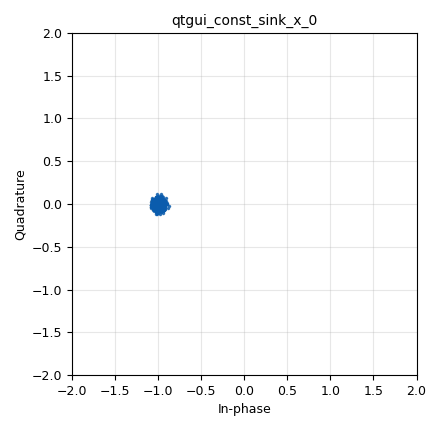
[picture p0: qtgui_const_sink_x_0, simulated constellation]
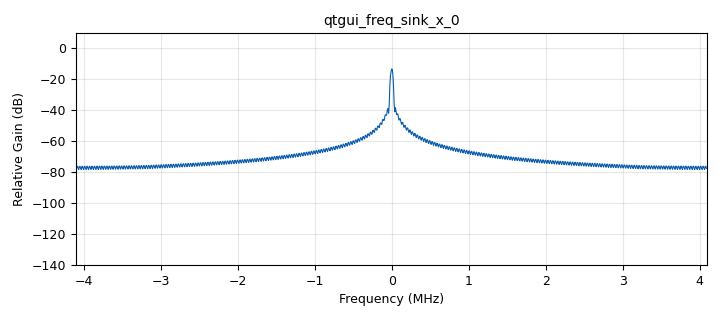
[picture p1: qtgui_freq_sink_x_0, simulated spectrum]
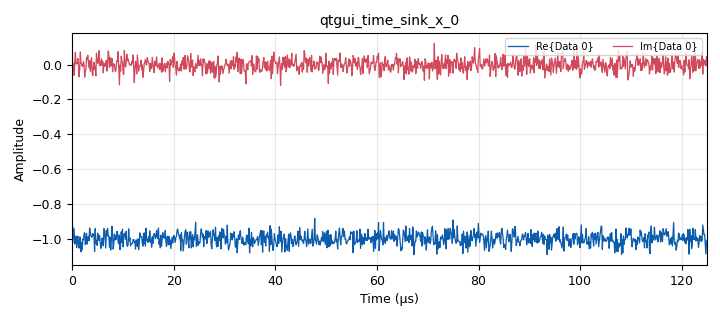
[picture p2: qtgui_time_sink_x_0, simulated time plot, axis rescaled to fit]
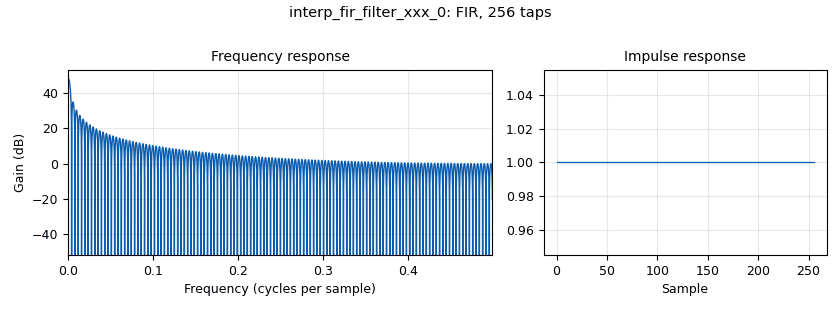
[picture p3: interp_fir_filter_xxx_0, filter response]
options:
  parameters:
    author: radiogis_director
    generate_options: qt_gui
    id: top_block
    output_language: python
    title: top_block
  states: {}

blocks:
- name: M
  id: variable
  parameters:
    value: len(tabla_de_verdad_constelacion )
  states: {}
- name: Rb
  id: variable
  parameters:
    value: Rs*bps
  states: {}
- name: Rs
  id: variable
  parameters:
    value: '32000'
  states: {}
- name: Sps
  id: variable
  parameters:
    value: '256'
  states: {}
- name: bps
  id: variable
  parameters:
    value: int(math.log(M,2))
  states: {}
- name: fc
  id: variable
  parameters:
    value: Rs*4
  states: {}
- name: h
  id: variable
  parameters:
    value: '[1]*Sps'
  states: {}
- name: samp_rate
  id: variable
  parameters:
    value: Rs*Sps
  states: {}
- name: tabla_de_verdad_constelacion
  id: variable
  parameters:
    value: (0.707+0.707j, -0.707+0.707j, -0.707-0.707j, 0.707-0.707j,1+0j,0-1j,-0+1j,-1-0j)
  states: {}
- name: analog_noise_source_x_0
  id: analog_noise_source_x
  parameters:
    amp: '0.05'
    noise_type: analog.GR_GAUSSIAN
    seed: '0'
    type: complex
  states: {}
- name: analog_random_source_x_0
  id: analog_random_source_x
  parameters:
    max: '2'
    min: '0'
    num_samps: '1000'
    repeat: 'True'
    type: byte
  states: {}
- name: analog_sig_source_x_0
  id: analog_sig_source_x
  parameters:
    amp: '1'
    freq: fc
    offset: '0'
    phase: '0'
    samp_rate: samp_rate
    type: complex
    waveform: analog.GR_COS_WAVE
  states: {state: disabled}
- name: analog_sig_source_x_1
  id: analog_sig_source_x
  parameters:
    amp: '1'
    freq: fc
    offset: '0'
    phase: '0'
    samp_rate: samp_rate
    type: complex
    waveform: analog.GR_SIN_WAVE
  states: {state: disabled}
- name: blocks_add_xx_0
  id: blocks_add_xx
  parameters:
    type: complex
  states: {}
- name: blocks_add_xx_1
  id: blocks_add_xx
  parameters:
    type: complex
  states: {state: disabled}
- name: blocks_multiply_xx_0
  id: blocks_multiply_xx
  parameters:
    type: complex
  states: {state: disabled}
- name: blocks_multiply_xx_1
  id: blocks_multiply_xx
  parameters:
    type: complex
  states: {state: disabled}
- name: blocks_pack_k_bits_bb_0
  id: blocks_pack_k_bits_bb
  parameters:
    k: '8'
  states: {}
- name: blocks_packed_to_unpacked_xx_0
  id: blocks_packed_to_unpacked_xx
  parameters:
    bits_per_chunk: bps
    endianness: gr.GR_MSB_FIRST
    type: byte
  states: {}
- name: digital_chunks_to_symbols_xx_0
  id: digital_chunks_to_symbols_xx
  parameters:
    dimension: '1'
    in_type: byte
    out_type: complex
    symbol_table: tabla_de_verdad_constelacion
  states: {}
- name: import_0
  id: import
  parameters:
    imports: import math
  states: {}
- name: interp_fir_filter_xxx_0
  id: interp_fir_filter_xxx
  parameters:
    interp: Sps
    taps: h
    type: ccf
  states: {}
- name: qtgui_const_sink_x_0
  id: qtgui_const_sink_x
  parameters:
    size: '1024'
    type: complex
  states: {}
- name: qtgui_const_sink_x_0_0
  id: qtgui_const_sink_x
  parameters:
    size: '1024'
    type: complex
  states: {state: disabled}
- name: qtgui_freq_sink_x_0
  id: qtgui_freq_sink_x
  parameters:
    average: '0.05'
    bw: samp_rate
    fc: '0'
    fftsize: '1024'
    type: complex
  states: {}
- name: qtgui_freq_sink_x_0_0
  id: qtgui_freq_sink_x
  parameters:
    average: '0.05'
    bw: samp_rate
    fc: '0'
    fftsize: '1024'
    type: complex
  states: {state: disabled}
- name: qtgui_time_sink_x_0
  id: qtgui_time_sink_x
  parameters:
    size: '1024'
    srate: samp_rate
    type: complex
  states: {}
- name: qtgui_time_sink_x_0_0
  id: qtgui_time_sink_x
  parameters:
    size: '1024'
    srate: samp_rate
    type: complex
  states: {state: disabled}
- name: virtual_sink_0
  id: virtual_sink
  parameters:
    stream_id: p1
  states: {}
- name: virtual_sink_0_0
  id: virtual_sink
  parameters:
    stream_id: p0
  states: {}
- name: virtual_source_0
  id: virtual_source
  parameters:
    stream_id: p1
  states: {}
- name: virtual_source_0_0
  id: virtual_source
  parameters:
    stream_id: p0
  states: {}
- name: virtual_source_0_1
  id: virtual_source
  parameters:
    stream_id: p1
  states: {state: disabled}

connections:
- [analog_noise_source_x_0, '0', blocks_add_xx_0, '0']
- [analog_random_source_x_0, '0', blocks_pack_k_bits_bb_0, '0']
- [analog_sig_source_x_0, '0', blocks_multiply_xx_0, '0']
- [analog_sig_source_x_1, '0', blocks_multiply_xx_1, '1']
- [blocks_add_xx_0, '0', virtual_sink_0, '0']
- [blocks_add_xx_1, '0', qtgui_const_sink_x_0_0, '0']
- [blocks_add_xx_1, '0', qtgui_freq_sink_x_0_0, '0']
- [blocks_add_xx_1, '0', qtgui_time_sink_x_0_0, '0']
- [blocks_multiply_xx_0, '0', blocks_add_xx_1, '0']
- [blocks_multiply_xx_1, '0', blocks_add_xx_1, '1']
- [blocks_pack_k_bits_bb_0, '0', blocks_packed_to_unpacked_xx_0, '0']
- [blocks_packed_to_unpacked_xx_0, '0', digital_chunks_to_symbols_xx_0, '0']
- [digital_chunks_to_symbols_xx_0, '0', interp_fir_filter_xxx_0, '0']
- [interp_fir_filter_xxx_0, '0', blocks_add_xx_0, '1']
- [interp_fir_filter_xxx_0, '0', virtual_sink_0_0, '0']
- [virtual_source_0, '0', qtgui_const_sink_x_0, '0']
- [virtual_source_0, '0', qtgui_time_sink_x_0, '0']
- [virtual_source_0_0, '0', qtgui_freq_sink_x_0, '0']
- [virtual_source_0_1, '0', blocks_multiply_xx_0, '1']
- [virtual_source_0_1, '0', blocks_multiply_xx_1, '0']

metadata:
  file_format: 1
  grc_version: 3.10.12.0
